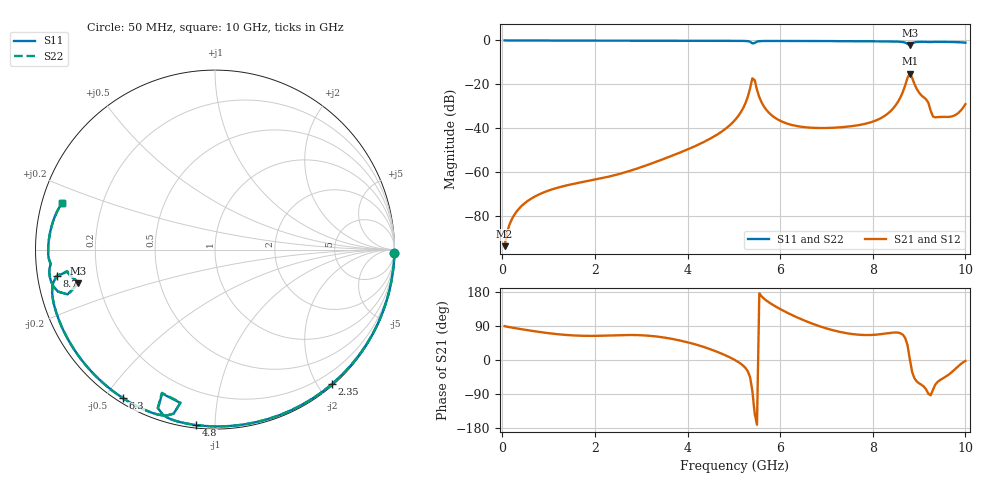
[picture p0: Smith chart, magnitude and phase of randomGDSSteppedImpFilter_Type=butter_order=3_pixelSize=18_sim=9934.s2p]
! freq	dB(S11)	phase(S11)	dB(S12)	phase(S12)
!  dB(S21)	phase(S21)	dB(S22)	phase(S22)
!S-par simulation data
#  GHz  S  DB  R 50
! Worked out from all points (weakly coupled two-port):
!   200 points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, 50 MHz to 10 GHz, reference 50 ohm
!   highest |S21| = -15.09 dB at 8.8 GHz (marker M1); lowest = -93.6 dB at 50 MHz (marker M2)
!   lowest |S11| = -2.1 dB at 8.8 GHz (marker M3), VSWR 8.36, Z = 6.07 - j5.95 ohm
!   |S11| at or under -10 dB: nowhere
!   |S22| runs from -2.1 to 0.0 dB; largest |S21 - S12| = 0
!   S11 on the Smith chart (normalised r, x): 50 MHz: open; 2.35 GHz: 0.02, -2.20; 4.8 GHz: 0.02, -0.90; 6.3 GHz: 0.02, -0.56; 8.7 GHz: 0.06, -0.08; 10 GHz: 0.06, +0.15
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0.05  -0.00 -1.1  -93.65 89.4  -93.65 89.4  -0.00 -1.1
0.25  -0.01 -5.3  -79.70 84.6  -79.70 84.6  -0.01 -5.3
0.85  -0.02 -18.0  -69.55 73.1  -69.55 73.1  -0.02 -18.0
1.75  -0.05 -36.7  -64.38 63.8  -64.38 63.8  -0.05 -36.7
2.35  -0.06 -48.8  -61.74 64.9  -61.74 64.9  -0.06 -48.9
3.4  -0.09 -69.5  -54.62 60.9  -54.62 60.9  -0.09 -69.5
4.8  -0.15 -96.1  -40.55 13.4  -40.55 13.4  -0.15 -96.1
5.05  -0.17 -101.0  -35.59 -1.9  -35.59 -1.9  -0.17 -101.1
5.25  -0.24 -105.8  -28.61 -20.8  -28.61 -20.8  -0.24 -105.9
5.4  -1.37 -110.2  -17.26 -81.8  -17.26 -81.8  -1.40 -110.3
5.45  -1.15 -102.8  -18.08 -141.4  -18.08 -141.4  -1.18 -102.7
5.75  -0.22 -111.3  -32.75 152.8  -32.75 152.8  -0.22 -111.3
6.3  -0.23 -121.8  -38.70 116.2  -38.70 116.2  -0.23 -121.9
6.7  -0.26 -129.1  -39.76 95.6  -39.76 95.6  -0.26 -129.1
7.8  -0.36 -149.2  -38.12 66.0  -38.12 66.0  -0.36 -149.3
8.35  -0.45 -160.3  -32.84 71.2  -32.84 71.2  -0.46 -160.4
8.7  -0.97 -170.4  -20.44 58.2  -20.44 58.2  -0.99 -170.6
8.8  -2.09 -166.2  -15.09 2.4  -15.09 2.4  -2.14 -166.3
9.2  -0.72 -174.7  -28.37 -88.8  -28.37 -88.8  -0.72 -174.7
9.3  -0.67 -176.3  -34.62 -78.5  -34.62 -78.5  -0.67 -176.3
9.75  -0.73 171.7  -34.29 -27.4  -34.29 -27.4  -0.73 171.6
10  -1.00 163.2  -29.00 -2.7  -29.00 -2.7  -1.00 163.1
